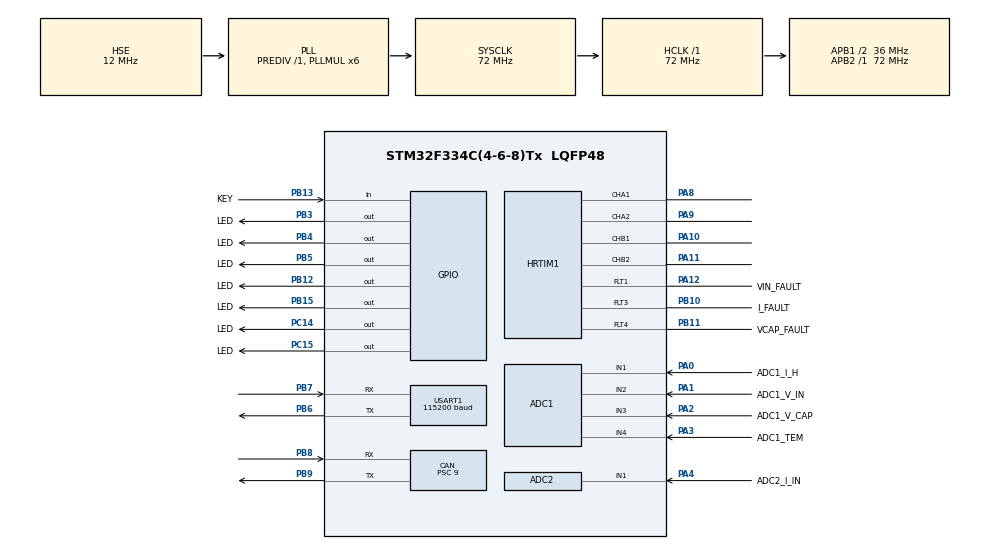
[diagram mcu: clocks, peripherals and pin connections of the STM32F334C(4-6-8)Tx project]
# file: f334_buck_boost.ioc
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ADC1.Channel-0\#ChannelRegularConversion=ADC_CHANNEL_VREFINT
ADC1.Channel-1\#ChannelRegularConversion=ADC_CHANNEL_2
ADC1.Channel-2\#ChannelRegularConversion=ADC_CHANNEL_3
ADC1.Channel-23\#ChannelRegularConversion=ADC_CHANNEL_3
ADC1.Channel-3\#ChannelRegularConversion=ADC_CHANNEL_1
ADC1.Channel-4\#ChannelRegularConversion=ADC_CHANNEL_1
ADC1.Channel-5\#ChannelRegularConversion=ADC_CHANNEL_2
ADC1.ContinuousConvMode=ENABLE
ADC1.DMAContinuousRequests=ENABLE
ADC1.DiscontinuousConvMode=DISABLE
ADC1.EOCSelection=ADC_EOC_SEQ_CONV
ADC1.EnableAnalogWatchDog1=false
ADC1.EnableInjectedConversion=DISABLE
ADC1.ExternalTrigConv=ADC_SOFTWARE_START
ADC1.NbrOfConversion=7
ADC1.NbrOfConversionFlag=1
ADC1.Offset-0\#ChannelRegularConversion=0
ADC1.Offset-1\#ChannelRegularConversion=0
ADC1.Offset-2\#ChannelRegularConversion=0
ADC1.Offset-23\#ChannelRegularConversion=0
ADC1.Offset-3\#ChannelRegularConversion=0
ADC1.Offset-4\#ChannelRegularConversion=0
ADC1.Offset-5\#ChannelRegularConversion=0
ADC1.OffsetNumber-0\#ChannelRegularConversion=ADC_OFFSET_NONE
ADC1.OffsetNumber-1\#ChannelRegularConversion=ADC_OFFSET_NONE
ADC1.OffsetNumber-2\#ChannelRegularConversion=ADC_OFFSET_NONE
ADC1.OffsetNumber-23\#ChannelRegularConversion=ADC_OFFSET_NONE
ADC1.OffsetNumber-3\#ChannelRegularConversion=ADC_OFFSET_NONE
ADC1.OffsetNumber-4\#ChannelRegularConversion=ADC_OFFSET_NONE
ADC1.OffsetNumber-5\#ChannelRegularConversion=ADC_OFFSET_NONE
ADC1.Rank-0\#ChannelRegularConversion=1
ADC1.Rank-1\#ChannelRegularConversion=2
ADC1.Rank-2\#ChannelRegularConversion=3
ADC1.Rank-23\#ChannelRegularConversion=7
ADC1.Rank-3\#ChannelRegularConversion=4
ADC1.Rank-4\#ChannelRegularConversion=5
ADC1.Rank-5\#ChannelRegularConversion=6
ADC1.SamplingTime-0\#ChannelRegularConversion=ADC_SAMPLETIME_7CYCLES_5
ADC1.SamplingTime-1\#ChannelRegularConversion=ADC_SAMPLETIME_7CYCLES_5
ADC1.SamplingTime-2\#ChannelRegularConversion=ADC_SAMPLETIME_7CYCLES_5
ADC1.SamplingTime-23\#ChannelRegularConversion=ADC_SAMPLETIME_7CYCLES_5
ADC1.SamplingTime-3\#ChannelRegularConversion=ADC_SAMPLETIME_7CYCLES_5
ADC1.SamplingTime-4\#ChannelRegularConversion=ADC_SAMPLETIME_7CYCLES_5
ADC1.SamplingTime-5\#ChannelRegularConversion=ADC_SAMPLETIME_7CYCLES_5
ADC1.SubFamily=STM32F334x8
ADC1.master=1
ADC2.Channel-0\#ChannelRegularConversion=ADC_CHANNEL_1
ADC2.Channel-1\#ChannelRegularConversion=ADC_CHANNEL_1
ADC2.Channel-2\#ChannelRegularConversion=ADC_CHANNEL_1
ADC2.Channel-3\#ChannelRegularConversion=ADC_CHANNEL_1
ADC2.Channel-4\#ChannelRegularConversion=ADC_CHANNEL_1
ADC2.Channel-5\#ChannelRegularConversion=ADC_CHANNEL_1
ADC2.Channel-6\#ChannelRegularConversion=ADC_CHANNEL_1
ADC2.ContinuousConvMode=DISABLE
ADC2.DMAContinuousRequests=ENABLE
ADC2.EOCSelection=ADC_EOC_SEQ_CONV
ADC2.EnableInjectedConversion=DISABLE
ADC2.ExternalTrigConv=ADC_EXTERNALTRIGCONVHRTIM_TRG3
ADC2.NbrOfConversion=7
ADC2.NbrOfConversionFlag=1
ADC2.Offset-0\#ChannelRegularConversion=0
ADC2.Offset-1\#ChannelRegularConversion=0
ADC2.Offset-2\#ChannelRegularConversion=0
ADC2.Offset-3\#ChannelRegularConversion=0
ADC2.Offset-4\#ChannelRegularConversion=0
ADC2.Offset-5\#ChannelRegularConversion=0
ADC2.Offset-6\#ChannelRegularConversion=0
ADC2.OffsetNumber-0\#ChannelRegularConversion=ADC_OFFSET_NONE
ADC2.OffsetNumber-1\#ChannelRegularConversion=ADC_OFFSET_NONE
ADC2.OffsetNumber-2\#ChannelRegularConversion=ADC_OFFSET_NONE
ADC2.OffsetNumber-3\#ChannelRegularConversion=ADC_OFFSET_NONE
ADC2.OffsetNumber-4\#ChannelRegularConversion=ADC_OFFSET_NONE
ADC2.OffsetNumber-5\#ChannelRegularConversion=ADC_OFFSET_NONE
ADC2.OffsetNumber-6\#ChannelRegularConversion=ADC_OFFSET_NONE
ADC2.Rank-0\#ChannelRegularConversion=1
ADC2.Rank-1\#ChannelRegularConversion=2
ADC2.Rank-2\#ChannelRegularConversion=3
ADC2.Rank-3\#ChannelRegularConversion=4
ADC2.Rank-4\#ChannelRegularConversion=5
ADC2.Rank-5\#ChannelRegularConversion=6
ADC2.Rank-6\#ChannelRegularConversion=7
ADC2.SamplingTime-0\#ChannelRegularConversion=ADC_SAMPLETIME_7CYCLES_5
ADC2.SamplingTime-1\#ChannelRegularConversion=ADC_SAMPLETIME_7CYCLES_5
ADC2.SamplingTime-2\#ChannelRegularConversion=ADC_SAMPLETIME_7CYCLES_5
ADC2.SamplingTime-3\#ChannelRegularConversion=ADC_SAMPLETIME_7CYCLES_5
ADC2.SamplingTime-4\#ChannelRegularConversion=ADC_SAMPLETIME_7CYCLES_5
ADC2.SamplingTime-5\#ChannelRegularConversion=ADC_SAMPLETIME_7CYCLES_5
ADC2.SamplingTime-6\#ChannelRegularConversion=ADC_SAMPLETIME_7CYCLES_5
ADC2.SamplingTimeOPAMP-6\#ChannelRegularConversion=ADC_SAMPLETIME_61CYCLES_5
ADC2.SubFamily=STM32F334x8
CAN.BS1=CAN_BS1_2TQ
CAN.CalculateBaudRate=1000000
CAN.CalculateTimeBit=1000
CAN.CalculateTimeQuantum=250.0
CAN.Prescaler=9
CAN.SJW=CAN_SJW_2TQ
CAN.TXFP=DISABLE
Dma.ADC1.0.Direction=DMA_PERIPH_TO_MEMORY
Dma.ADC1.0.Instance=DMA1_Channel1
Dma.ADC1.0.MemDataAlignment=DMA_MDATAALIGN_HALFWORD
Dma.ADC1.0.MemInc=DMA_MINC_ENABLE
Dma.ADC1.0.Mode=DMA_CIRCULAR
Dma.ADC1.0.PeriphDataAlignment=DMA_PDATAALIGN_HALFWORD
Dma.ADC1.0.PeriphInc=DMA_PINC_DISABLE
Dma.ADC1.0.Priority=DMA_PRIORITY_VERY_HIGH
Dma.ADC2.1.Direction=DMA_PERIPH_TO_MEMORY
Dma.ADC2.1.Instance=DMA1_Channel2
Dma.ADC2.1.MemDataAlignment=DMA_MDATAALIGN_HALFWORD
Dma.ADC2.1.MemInc=DMA_MINC_ENABLE
Dma.ADC2.1.Mode=DMA_CIRCULAR
Dma.ADC2.1.PeriphDataAlignment=DMA_PDATAALIGN_HALFWORD
Dma.ADC2.1.PeriphInc=DMA_PINC_DISABLE
Dma.ADC2.1.Priority=DMA_PRIORITY_HIGH
Dma.Request0=ADC1
Dma.Request1=ADC2
HRTIM1.ADCTrigger3_Source1=HRTIM_ADCTRIGGEREVENT13_TIMERE_PERIOD
HRTIM1.ADCTrigger_Id1=__NULL
HRTIM1.ADCTrigger_Id2=__NULL
HRTIM1.ADCTrigger_Id3=HRTIM_ADCTRIGGER_3
HRTIM1.ADCTrigger_Id4=__NULL
HRTIM1.CompareUnit1-MasterTimer=HRTIM_COMPAREUNIT_1
HRTIM1.CompareUnit1-Output_TA1TA2=HRTIM_COMPAREUNIT_1
HRTIM1.CompareUnit1-Output_TB1TB2=HRTIM_COMPAREUNIT_1
HRTIM1.CompareUnit2-MasterTimer=HRTIM_COMPAREUNIT_2
HRTIM1.CompareUnit2-Output_TA1TA2=HRTIM_COMPAREUNIT_2
HRTIM1.CompareUnit2-Output_TB1TB2=HRTIM_COMPAREUNIT_2
HRTIM1.CompareUnit3-MasterTimer=HRTIM_COMPAREUNIT_3
HRTIM1.CompareUnit4-MasterTimer=HRTIM_COMPAREUNIT_4
HRTIM1.CompareValue1-MasterTimer=9600
HRTIM1.CompareValue1-Output_TA1TA2=65503
HRTIM1.CompareValue1-Output_TB1TB2=65503
HRTIM1.CompareValue2-MasterTimer=19200
HRTIM1.CompareValue2-Output_TA1TA2=65503
HRTIM1.CompareValue2-Output_TB1TB2=65503
HRTIM1.CompareValue3-MasterTimer=28800
HRTIM1.CompareValue4-MasterTimer=38400
HRTIM1.DeadTimeInsertion-Output_TA1TA2=HRTIM_TIMDEADTIMEINSERTION_ENABLED
HRTIM1.DeadTimeInsertion-Output_TB1TB2=HRTIM_TIMDEADTIMEINSERTION_ENABLED
HRTIM1.Enable=HRTIM_BURSTMODECTL_DISABLED
HRTIM1.EnableCalibration=DLLSimpleCalibration
HRTIM1.Enable_FaultLine1=HRTIM_FAULTMODECTL_ENABLED
HRTIM1.Enable_FaultLine4=HRTIM_FAULTMODECTL_ENABLED
HRTIM1.Event_EEV1=__NULL
HRTIM1.Event_EEV3=__NULL
HRTIM1.Event_EEV9=__NULL
HRTIM1.FallingSign-Output_TA1TA2=HRTIM_TIMDEADTIME_FALLINGSIGN_NEGATIVE
HRTIM1.FallingSign-Output_TB1TB2=HRTIM_TIMDEADTIME_FALLINGSIGN_NEGATIVE
HRTIM1.FallingValue-Output_TA1TA2=200
HRTIM1.FallingValue-Output_TB1TB2=200
HRTIM1.FaultEnable_Source1-Output_TA1TA2=HRTIM_TIMFAULTENABLE_FAULT1
HRTIM1.FaultEnable_Source1-Output_TB1TB2=HRTIM_TIMFAULTENABLE_FAULT1
HRTIM1.FaultEnable_Source2-Output_TA1TA2=HRTIM_TIMFAULTENABLE_FAULT4
HRTIM1.FaultEnable_Source2-Output_TB1TB2=HRTIM_TIMFAULTENABLE_FAULT4
HRTIM1.FaultLevel1-Output_TA1TA2=HRTIM_OUTPUTFAULTLEVEL_ACTIVE
HRTIM1.FaultLevel1-Output_TB1TB2=HRTIM_OUTPUTFAULTLEVEL_ACTIVE
HRTIM1.FaultLevel2-Output_TA1TA2=HRTIM_OUTPUTFAULTLEVEL_ACTIVE
HRTIM1.FaultLevel2-Output_TB1TB2=HRTIM_OUTPUTFAULTLEVEL_ACTIVE
HRTIM1.Filter_FaultLine1=HRTIM_FAULTFILTER_8
HRTIM1.Filter_FaultLine4=HRTIM_FAULTFILTER_10
HRTIM1.HRTIMInterruptResquests1=HRTIM_IT_FLT1
HRTIM1.HRTIMInterruptResquests2=HRTIM_IT_FLT4
HRTIM1.HRTIMInterruptResquests3=HRTIM_IT_NONE
HRTIM1.HRTIMInterruptResquests4=HRTIM_IT_NONE
HRTIM1.IdleLevel1-Output_TA1TA2=HRTIM_OUTPUTIDLELEVEL_ACTIVE
HRTIM1.IdleLevel1-Output_TB1TB2=HRTIM_OUTPUTIDLELEVEL_ACTIVE
HRTIM1.IdleLevel2-Output_TA1TA2=HRTIM_OUTPUTIDLELEVEL_ACTIVE
HRTIM1.IdleLevel2-Output_TB1TB2=HRTIM_OUTPUTIDLELEVEL_ACTIVE
HRTIM1.InterruptRequests1-No_output_TE=HRTIM_TIM_IT_RST
HRTIM1.Lock_FaultLine1=HRTIM_FAULTLOCK_READWRITE
HRTIM1.Lock_FaultLine4=HRTIM_FAULTLOCK_READWRITE
HRTIM1.NumberADCTriggerSource3=1
HRTIM1.NumberFaultEnable-Output_TA1TA2=2
HRTIM1.NumberFaultEnable-Output_TB1TB2=2
HRTIM1.NumberInterruptRequests-No_output_TE=1
HRTIM1.NumberInterruptRequests_Master-MasterTimer=0
HRTIM1.NumberResetSource1-Output_TA1TA2=1
HRTIM1.NumberResetSource1-Output_TB1TB2=1
HRTIM1.NumberResetTrigger-Output_TA1TA2=5
HRTIM1.NumberResetTrigger-Output_TB1TB2=5
HRTIM1.NumberSetSource1-Output_TA1TA2=7
HRTIM1.NumberSetSource1-Output_TB1TB2=7
HRTIM1.ORingUpdateSource_ADCTrigger3=HRTIM_ADCTRIGGERUPDATE_TIMER_E
HRTIM1.Periode_MASTER=9600*5
HRTIM1.Periode_TE=9000
HRTIM1.Polarity1-Output_TA1TA2=HRTIM_OUTPUTPOLARITY_LOW
HRTIM1.Polarity1-Output_TB1TB2=HRTIM_OUTPUTPOLARITY_LOW
HRTIM1.Polarity2-Output_TA1TA2=HRTIM_OUTPUTPOLARITY_LOW
HRTIM1.Polarity2-Output_TB1TB2=HRTIM_OUTPUTPOLARITY_LOW
HRTIM1.Polarity_FaultLine1=HRTIM_FAULTPOLARITY_HIGH
HRTIM1.Polarity_FaultLine4=HRTIM_FAULTPOLARITY_HIGH
HRTIM1.PreloadEnable-MasterTimer=HRTIM_PRELOAD_ENABLED
HRTIM1.PreloadEnable-Output_TA1TA2=HRTIM_PRELOAD_ENABLED
HRTIM1.PreloadEnable-Output_TB1TB2=HRTIM_PRELOAD_ENABLED
HRTIM1.PrescalerFault=HRTIM_FAULTPRESCALER_DIV4
HRTIM1.PrescalerRatio_MASTER=HRTIM_PRESCALERRATIO_MUL8
HRTIM1.PrescalerRatio_TE=HRTIM_PRESCALERRATIO_DIV4
HRTIM1.RepetitionCounter-MasterTimer=0
HRTIM1.RepetitionCounter-No_output_TE=0x01
HRTIM1.RepetitionUpdate-MasterTimer=HRTIM_UPDATEONREPETITION_ENABLED
HRTIM1.RepetitionUpdate-No_output_TE=HRTIM_UPDATEONREPETITION_ENABLED
HRTIM1.RepetitionUpdate-Output_TA1TA2=HRTIM_UPDATEONREPETITION_ENABLED
HRTIM1.RepetitionUpdate-Output_TB1TB2=HRTIM_UPDATEONREPETITION_ENABLED
HRTIM1.ResetOutput1_Source1-Output_TA1TA2=HRTIM_OUTPUTRESET_TIMCMP1
HRTIM1.ResetOutput1_Source1-Output_TB1TB2=HRTIM_OUTPUTRESET_TIMCMP1
HRTIM1.ResetTrigger1-Output_TA1TA2=HRTIM_TIMRESETTRIGGER_MASTER_PER
HRTIM1.ResetTrigger1-Output_TB1TB2=HRTIM_TIMRESETTRIGGER_MASTER_PER
HRTIM1.ResetTrigger2-Output_TA1TA2=HRTIM_TIMRESETTRIGGER_MASTER_CMP1
HRTIM1.ResetTrigger2-Output_TB1TB2=HRTIM_TIMRESETTRIGGER_MASTER_CMP1
HRTIM1.ResetTrigger3-Output_TA1TA2=HRTIM_TIMRESETTRIGGER_MASTER_CMP2
HRTIM1.ResetTrigger3-Output_TB1TB2=HRTIM_TIMRESETTRIGGER_MASTER_CMP2
HRTIM1.ResetTrigger4-Output_TA1TA2=HRTIM_TIMRESETTRIGGER_MASTER_CMP3
HRTIM1.ResetTrigger4-Output_TB1TB2=HRTIM_TIMRESETTRIGGER_MASTER_CMP3
HRTIM1.ResetTrigger5-Output_TA1TA2=HRTIM_TIMRESETTRIGGER_MASTER_CMP4
HRTIM1.ResetTrigger5-Output_TB1TB2=HRTIM_TIMRESETTRIGGER_MASTER_CMP4
HRTIM1.RisingSign-Output_TA1TA2=HRTIM_TIMDEADTIME_RISINGSIGN_NEGATIVE
HRTIM1.RisingSign-Output_TB1TB2=HRTIM_TIMDEADTIME_RISINGSIGN_NEGATIVE
HRTIM1.RisingValue-Output_TA1TA2=200
HRTIM1.RisingValue-Output_TB1TB2=200
HRTIM1.SetOutput1_Source1-Output_TA1TA2=HRTIM_OUTPUTSET_TIMPER
HRTIM1.SetOutput1_Source1-Output_TB1TB2=HRTIM_OUTPUTSET_TIMPER
HRTIM1.SetOutput1_Source2-Output_TA1TA2=HRTIM_OUTPUTSET_TIMCMP2
HRTIM1.SetOutput1_Source2-Output_TB1TB2=HRTIM_OUTPUTSET_TIMCMP2
HRTIM1.SetOutput1_Source3-Output_TA1TA2=HRTIM_OUTPUTSET_MASTERPER
HRTIM1.SetOutput1_Source3-Output_TB1TB2=HRTIM_OUTPUTSET_MASTERPER
HRTIM1.SetOutput1_Source4-Output_TA1TA2=HRTIM_OUTPUTSET_MASTERCMP1
HRTIM1.SetOutput1_Source4-Output_TB1TB2=HRTIM_OUTPUTSET_MASTERCMP1
HRTIM1.SetOutput1_Source5-Output_TA1TA2=HRTIM_OUTPUTSET_MASTERCMP2
HRTIM1.SetOutput1_Source5-Output_TB1TB2=HRTIM_OUTPUTSET_MASTERCMP2
HRTIM1.SetOutput1_Source6-Output_TA1TA2=HRTIM_OUTPUTSET_MASTERCMP3
HRTIM1.SetOutput1_Source6-Output_TB1TB2=HRTIM_OUTPUTSET_MASTERCMP3
HRTIM1.SetOutput1_Source7-Output_TA1TA2=HRTIM_OUTPUTSET_MASTERCMP4
HRTIM1.SetOutput1_Source7-Output_TB1TB2=HRTIM_OUTPUTSET_MASTERCMP4
HRTIM1.SyncOptions=HRTIM_SYNCOPTION_NONE
IWDG.Prescaler=IWDG_PRESCALER_16
IWDG.Reload=1000
Mcu.Family=STM32F3
Mcu.Name=STM32F334C(4-6-8)Tx
Mcu.Package=LQFP48
NVIC.CAN_RX0_IRQn=true\:11\:0\:true\:false\:true\:true\:true\:true
NVIC.CAN_RX1_IRQn=true\:11\:0\:true\:false\:true\:true\:true\:true
NVIC.CAN_SCE_IRQn=true\:10\:0\:true\:false\:true\:true\:true\:true
NVIC.CAN_TX_IRQn=true\:12\:0\:true\:false\:true\:true\:true\:true
NVIC.DMA1_Channel1_IRQn=true\:7\:0\:true\:false\:true\:true\:true\:true
NVIC.DMA1_Channel2_IRQn=true\:8\:0\:true\:false\:true\:true\:true\:true
NVIC.HRTIM1_FLT_IRQn=true\:6\:0\:true\:false\:true\:true\:true\:true
NVIC.HRTIM1_TIME_IRQn=true\:10\:0\:true\:false\:true\:true\:true\:true
NVIC.PriorityGroup=NVIC_PRIORITYGROUP_4
NVIC.TIM1_BRK_TIM15_IRQn=true\:5\:0\:true\:false\:true\:true\:true\:true
NVIC.TIM2_IRQn=true\:9\:0\:true\:false\:true\:true\:true\:true
NVIC.TIM6_DAC1_IRQn=true\:14\:0\:true\:false\:true\:true\:true\:true
PA0.GPIO_Label=ADC1_I_H
PA0.Mode=IN1-Single-Ended
PA0.Signal=ADC1_IN1
PA1.GPIO_Label=ADC1_V_IN
PA1.Mode=IN2-Single-Ended
PA1.Signal=ADC1_IN2
PA10.Mode=Output_TB1TB2
PA10.Signal=HRTIM1_CHB1
PA11.Mode=Output_TB1TB2
PA11.Signal=HRTIM1_CHB2
PA12.GPIO_Label=VIN_FAULT
PA12.Mode=Fault_Enable1
PA12.Signal=HRTIM1_FLT1
PA13.Mode=Serial_Wire
PA13.Signal=SYS_JTMS-SWDIO
PA14.Mode=Serial_Wire
PA14.Signal=SYS_JTCK-SWCLK
PA2.GPIO_Label=ADC1_V_CAP
PA2.Mode=IN3-Single-Ended
PA2.Signal=ADC1_IN3
PA3.GPIO_Label=ADC1_TEM
PA3.Mode=IN4-Single-Ended
PA3.Signal=ADC1_IN4
PA4.GPIO_Label=ADC2_I_IN
PA4.Mode=IN1-Single-Ended
PA4.Signal=ADC2_IN1
PA8.Mode=Output_TA1TA2
PA8.Signal=HRTIM1_CHA1
PA9.Mode=Output_TA1TA2
PA9.Signal=HRTIM1_CHA2
PB10.GPIO_Label=I_FAULT
PB10.Mode=Fault_Enable3
PB10.Signal=HRTIM1_FLT3
PB11.GPIO_Label=VCAP_FAULT
PB11.Mode=Fault_Enable4
PB11.Signal=HRTIM1_FLT4
PB12.GPIO_Label=LED
PB12.Signal=GPIO_Output
PB13.GPIO_Label=KEY
PB13.Signal=GPIO_Input
PB15.GPIO_Label=LED
PB15.Signal=GPIO_Output
PB3.GPIO_Label=LED
PB3.Signal=GPIO_Output
PB4.GPIO_Label=LED
PB4.Signal=GPIO_Output
PB5.GPIO_Label=LED
PB5.Signal=GPIO_Output
PB6.Mode=Asynchronous
PB6.Signal=USART1_TX
PB7.Mode=Asynchronous
PB7.Signal=USART1_RX
PB8.Mode=CAN_Activate
PB8.Signal=CAN_RX
PB9.Mode=CAN_Activate
PB9.Signal=CAN_TX
PC14\ /\ OSC32_IN.GPIO_Label=LED
PC14\ /\ OSC32_IN.Signal=GPIO_Output
PC15\ /\ OSC32_OUT.GPIO_Label=LED
PC15\ /\ OSC32_OUT.Signal=GPIO_Output
PF0\ /\ OSC_IN.Mode=HSE-External-Clock-Source
PF0\ /\ OSC_IN.Signal=RCC_OSC_IN
ProjectManager.HeapSize=0x800
ProjectManager.StackSize=0x1000
ProjectManager.TargetToolchain=MDK-ARM V5.32
RCC.AHBFreq_Value=72000000
RCC.APB1CLKDivider=RCC_HCLK_DIV2
RCC.APB1Freq_Value=36000000
RCC.APB1TimFreq_Value=72000000
RCC.APB2Freq_Value=72000000
RCC.APB2TimFreq_Value=72000000
RCC.CortexFreq_Value=72000000
RCC.HCLKFreq_Value=72000000
RCC.HRTIMSelection=RCC_HRTIM1CLK_PLLCLK
RCC.HSE_VALUE=12000000
RCC.HSI_VALUE=8000000
RCC.LSE_VALUE=32768
RCC.PLLMUL=RCC_PLL_MUL6
RCC.PLLSourceVirtual=RCC_PLLSOURCE_HSE
RCC.SYSCLKFreq_VALUE=72000000
RCC.SYSCLKSourceVirtual=RCC_SYSCLKSOURCE_PLLCLK
TIM15.AutoReloadPreload=TIM_AUTORELOAD_PRELOAD_ENABLE
TIM15.Period=99
TIM15.Prescaler=119
TIM15.TIM_MasterOutputTrigger=TIM_TRGO_RESET
TIM2.AutoReloadPreload=TIM_AUTORELOAD_PRELOAD_ENABLE
TIM2.Period=999
TIM2.Prescaler=71
TIM6.AutoReloadPreload=TIM_AUTORELOAD_PRELOAD_DISABLE
TIM6.Period=9999
TIM6.Prescaler=719
USART1.BaudRate=115200
USART1.VirtualMode-Asynchronous=VM_ASYNC
VP_ADC1_TempSens_Input.Mode=IN-TempSens
VP_ADC1_Vref_Input.Mode=IN-Vrefint
VP_HRTIM1_VS_hrtimMasterTimerNoOutput.Mode=MasterTimer
VP_HRTIM1_VS_hrtimTimerENoOutput.Mode=No_output_TE
VP_IWDG_VS_IWDG.Mode=IWDG_Activate
VP_TIM15_VS_ClockSourceINT.Mode=Internal
VP_TIM2_VS_ClockSourceINT.Mode=Internal
VP_TIM6_VS_ClockSourceINT.Mode=Enable_Timer
board=custom

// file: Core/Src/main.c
/* USER CODE BEGIN Header */
/**
 ******************************************************************************
 * @file           : main.c
 * @brief          : Main program body
 ******************************************************************************
 * @attention
 *
 * <h2><center>&copy; Copyright (c) 2021 STMicroelectronics.
 * All rights reserved.</center></h2>
 *
 * This software component is licensed by ST under BSD 3-Clause license,
 * the "License"; You may not use this file except in compliance with the
 * License. You may obtain a copy of the License at:
 *                        opensource.org/licenses/BSD-3-Clause
 *
 ******************************************************************************
 */
/* USER CODE END Header */
#include "main.h"
#include "adc.h"
#include "can.h"
#include "dma.h"
#include "hrtim.h"
#include "tim.h"
#include "usart.h"
#include "gpio.h"

/* USER CODE BEGIN Includes */
#include "GeneralMacros.h"
#include "app_Routine.h"
#include "mod_ADCProcess.h"
#include "drv_UartSendCtrl.h"
#include "func_CurrentCtrl.h"
#include "drv_CPUUsage.h"
#include "drv_CAN.h"
#include "mod_NTCSensor.h"
#include "func_ChargeSafety.h"
#include "func_PowerCtrl.h"
#include "func_ChargeSafety.h"
#include "func_LED.h"
#include "iwdg.h"
/* USER CODE END Includes */

/* USER CODE BEGIN PV */
HAL_StatusTypeDef CAN_ADD_Status;
/* USER CODE END PV */

void SystemClock_Config(void);

int main(void)
{

  /* MCU Configuration--------------------------------------------------------*/

  /* Reset of all peripherals, Initializes the Flash interface and the Systick. */
   HAL_Init();

  /* Configure the system clock */
  SystemClock_Config();

  /* USER CODE BEGIN SysInit */
  CPUUsage_Init();
  /* USER CODE END SysInit */

  /* Initialize all configured peripherals */
  MX_GPIO_Init();
  MX_DMA_Init();
  MX_ADC1_Init();
  MX_ADC2_Init();
  MX_CAN_Init();
  MX_TIM2_Init();
  MX_HRTIM1_Init();
  MX_TIM6_Init();
  MX_TIM15_Init();
  MX_USART1_UART_Init();
  /* USER CODE BEGIN 2 */
  // ! 每次Cube生成工程后，�?要打�? MicroLib 并取消使用第二段 RAM
  LED_Init();
  drv_CAN_Init();
  CurrentCtrl_Init();
  ADC_Module_Init(); // 初始�? ADC 采样模块
  // Charge_System_Check_Init(HRTIM_Disable_Output, HRTIM_Enable_Output);
  // 充电保护过程相关回调函数的注�?
  Power_Control_Init(); // 功率控制过程的初始化
  // NTC_Init(10, HRTIM_Disable_Output, HRTIM_Enable_Output); // NTC 初始�?

  GeneralCtrl_Init();

#ifdef LED_DEBUG
  LED_Ctrl(2, 4, LED_ON, 1);
#endif

#ifdef LED_ONCAR
  LED_Ctrl(1, 1, LED_ON, 1);
#endif

#if (!CAPACITY_CALIBRATING_MODE)
  // 进行 H �? MOS 短路情况�?�?
  // if (Power_On_Self_Test() != 1)
  //     Power_On_Self_Test();
#endif /* CAPACITY_CALIBRATING_MODE */

  /* USER CODE END 2 */

  /* Infinite loop */
  /* USER CODE BEGIN WHILE */
  while (1)
  {
    while (CPUUsage_Scope())
      ;
    /* USER CODE END WHILE */

  }
}

void SystemClock_Config(void)
{
  RCC_OscInitTypeDef RCC_OscInitStruct = {0};
  RCC_ClkInitTypeDef RCC_ClkInitStruct = {0};
  RCC_PeriphCLKInitTypeDef PeriphClkInit = {0};

  /** Initializes the RCC Oscillators according to the specified parameters
  * in the RCC_OscInitTypeDef structure.
  */
  RCC_OscInitStruct.OscillatorType = RCC_OSCILLATORTYPE_LSI|RCC_OSCILLATORTYPE_HSE;
  RCC_OscInitStruct.HSEState = RCC_HSE_BYPASS;
  RCC_OscInitStruct.HSEPredivValue = RCC_HSE_PREDIV_DIV1;
  RCC_OscInitStruct.HSIState = RCC_HSI_ON;
  RCC_OscInitStruct.LSIState = RCC_LSI_ON;
  RCC_OscInitStruct.PLL.PLLState = RCC_PLL_ON;
  RCC_OscInitStruct.PLL.PLLSource = RCC_PLLSOURCE_HSE;
  RCC_OscInitStruct.PLL.PLLMUL = RCC_PLL_MUL6;
  if (HAL_RCC_OscConfig(&RCC_OscInitStruct) != HAL_OK)
  {
    Error_Handler();
  }

  /** Initializes the CPU, AHB and APB buses clocks
  */
  RCC_ClkInitStruct.ClockType = RCC_CLOCKTYPE_HCLK|RCC_CLOCKTYPE_SYSCLK
                              |RCC_CLOCKTYPE_PCLK1|RCC_CLOCKTYPE_PCLK2;
  RCC_ClkInitStruct.SYSCLKSource = RCC_SYSCLKSOURCE_PLLCLK;
  RCC_ClkInitStruct.AHBCLKDivider = RCC_SYSCLK_DIV1;
  RCC_ClkInitStruct.APB1CLKDivider = RCC_HCLK_DIV2;
  RCC_ClkInitStruct.APB2CLKDivider = RCC_HCLK_DIV1;

  if (HAL_RCC_ClockConfig(&RCC_ClkInitStruct, FLASH_LATENCY_2) != HAL_OK)
  {
    Error_Handler();
  }
  PeriphClkInit.PeriphClockSelection = RCC_PERIPHCLK_HRTIM1|RCC_PERIPHCLK_USART1
                              |RCC_PERIPHCLK_ADC12;
  PeriphClkInit.Usart1ClockSelection = RCC_USART1CLKSOURCE_PCLK1;
  PeriphClkInit.Adc12ClockSelection = RCC_ADC12PLLCLK_DIV1;
  PeriphClkInit.Hrtim1ClockSelection = RCC_HRTIM1CLK_PLLCLK;
  if (HAL_RCCEx_PeriphCLKConfig(&PeriphClkInit) != HAL_OK)
  {
    Error_Handler();
  }
}

void Error_Handler(void)
{
  __disable_irq();
  while (1)
  {
  }
}
